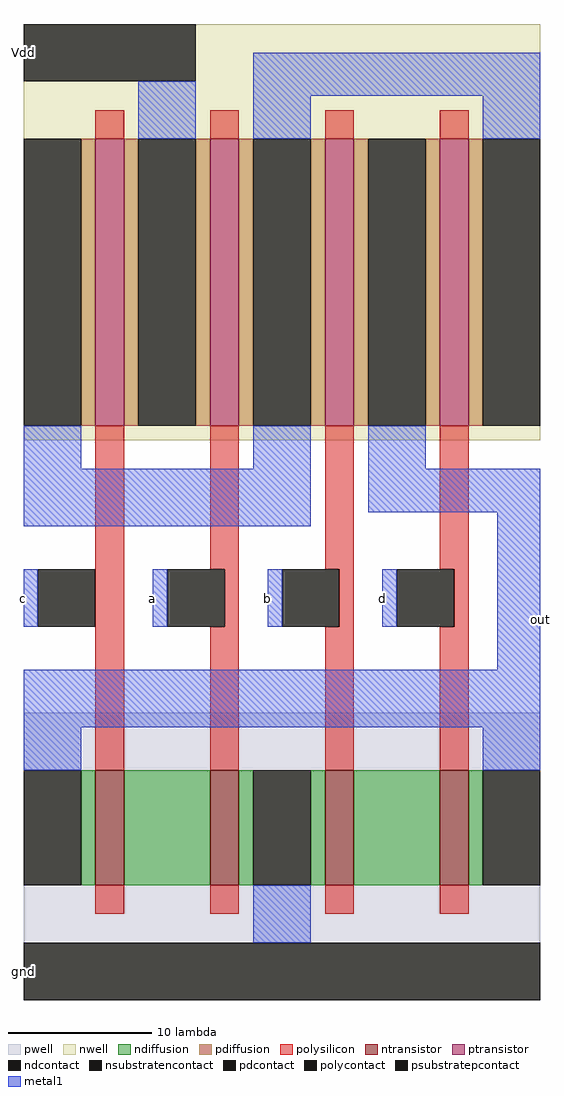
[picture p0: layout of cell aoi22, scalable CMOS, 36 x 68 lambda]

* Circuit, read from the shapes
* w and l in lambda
.subckt aoi22 Vdd a b c d gnd out
M1 n1 c out gnd nfet w=8 l=2
M2 gnd a n1 gnd nfet w=8 l=2
M3 n2 b gnd gnd nfet w=8 l=2
M4 out d n2 gnd nfet w=8 l=2
M5 Vdd c n3 Vdd pfet w=20 l=2
M6 n3 a Vdd Vdd pfet w=20 l=2
M7 out b n3 Vdd pfet w=20 l=2
M8 n3 d out Vdd pfet w=20 l=2
.ends

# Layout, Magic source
magic
tech scmos
<< pwell >>
rect -11 -22 25 -2
<< nwell >>
rect -11 17 25 46
<< polysilicon >>
rect -6 38 -4 40
rect 2 38 4 40
rect 10 38 12 40
rect 18 38 20 40
rect -6 -6 -4 18
rect 2 8 4 18
rect 10 8 12 18
rect 18 8 20 18
rect 3 4 4 8
rect 11 4 12 8
rect 19 4 20 8
rect 2 -6 4 4
rect 10 -6 12 4
rect 18 -6 20 4
rect -6 -16 -4 -14
rect 2 -16 4 -14
rect 10 -16 12 -14
rect 18 -16 20 -14
<< ndiffusion >>
rect -7 -14 -6 -6
rect -4 -14 2 -6
rect 4 -14 5 -6
rect 9 -14 10 -6
rect 12 -14 18 -6
rect 20 -14 21 -6
<< pdiffusion >>
rect -7 18 -6 38
rect -4 18 -3 38
rect 1 18 2 38
rect 4 18 5 38
rect 9 18 10 38
rect 12 18 13 38
rect 17 18 18 38
rect 20 18 21 38
<< metal1 >>
rect -3 38 1 42
rect 5 41 25 44
rect 5 38 9 41
rect 21 38 25 41
rect -11 15 -7 18
rect 5 15 9 18
rect -11 11 9 15
rect 13 15 17 18
rect 13 12 25 15
rect -11 4 -10 8
rect -2 4 -1 8
rect 6 4 7 8
rect 14 4 15 8
rect 22 1 25 12
rect -11 -3 25 1
rect -11 -6 -7 -3
rect 21 -6 25 -3
rect 5 -18 9 -14
<< ntransistor >>
rect -6 -14 -4 -6
rect 2 -14 4 -6
rect 10 -14 12 -6
rect 18 -14 20 -6
<< ptransistor >>
rect -6 18 -4 38
rect 2 18 4 38
rect 10 18 12 38
rect 18 18 20 38
<< polycontact >>
rect -10 4 -6 8
rect -1 4 3 8
rect 7 4 11 8
rect 15 4 19 8
<< ndcontact >>
rect -11 -14 -7 -6
rect 5 -14 9 -6
rect 21 -14 25 -6
<< pdcontact >>
rect -11 18 -7 38
rect -3 18 1 38
rect 5 18 9 38
rect 13 18 17 38
rect 21 18 25 38
<< psubstratepcontact >>
rect -11 -22 25 -18
<< nsubstratencontact >>
rect -11 42 1 46
<< labels >>
rlabel metal1 -11 4 -11 8 3 c
rlabel metal1 -2 4 -2 8 1 a
rlabel metal1 6 4 6 8 1 b
rlabel metal1 14 4 14 8 1 d
rlabel psubstratepcontact -11 -22 -11 -18 2 gnd
rlabel nsubstratencontact -11 42 -11 46 4 Vdd
rlabel metal1 25 -6 25 15 7 out
<< end >>
